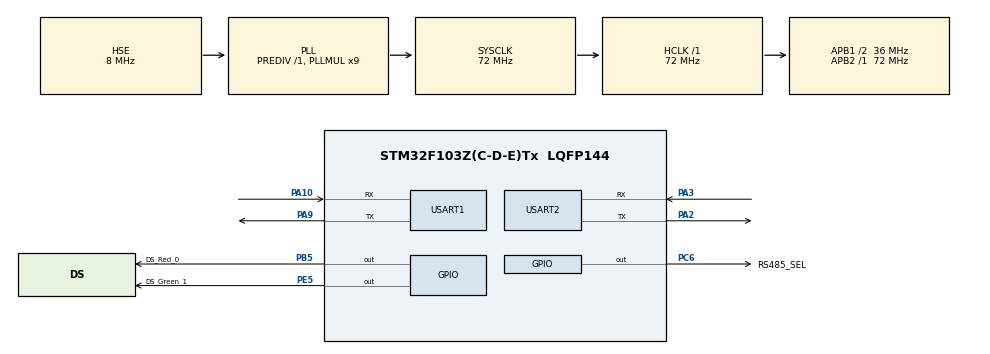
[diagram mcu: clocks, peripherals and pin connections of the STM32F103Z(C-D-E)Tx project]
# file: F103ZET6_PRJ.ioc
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Dma.Request0=USART1_RX
Dma.Request1=USART1_TX
Dma.Request2=USART2_RX
Dma.Request3=USART2_TX
Dma.USART1_RX.0.Direction=DMA_PERIPH_TO_MEMORY
Dma.USART1_RX.0.Instance=DMA1_Channel5
Dma.USART1_RX.0.MemDataAlignment=DMA_MDATAALIGN_BYTE
Dma.USART1_RX.0.MemInc=DMA_MINC_ENABLE
Dma.USART1_RX.0.Mode=DMA_NORMAL
Dma.USART1_RX.0.PeriphDataAlignment=DMA_PDATAALIGN_BYTE
Dma.USART1_RX.0.PeriphInc=DMA_PINC_DISABLE
Dma.USART1_RX.0.Priority=DMA_PRIORITY_LOW
Dma.USART1_TX.1.Direction=DMA_MEMORY_TO_PERIPH
Dma.USART1_TX.1.Instance=DMA1_Channel4
Dma.USART1_TX.1.MemDataAlignment=DMA_MDATAALIGN_BYTE
Dma.USART1_TX.1.MemInc=DMA_MINC_ENABLE
Dma.USART1_TX.1.Mode=DMA_NORMAL
Dma.USART1_TX.1.PeriphDataAlignment=DMA_PDATAALIGN_BYTE
Dma.USART1_TX.1.PeriphInc=DMA_PINC_DISABLE
Dma.USART1_TX.1.Priority=DMA_PRIORITY_LOW
Dma.USART2_RX.2.Direction=DMA_PERIPH_TO_MEMORY
Dma.USART2_RX.2.Instance=DMA1_Channel6
Dma.USART2_RX.2.MemDataAlignment=DMA_MDATAALIGN_BYTE
Dma.USART2_RX.2.MemInc=DMA_MINC_ENABLE
Dma.USART2_RX.2.Mode=DMA_NORMAL
Dma.USART2_RX.2.PeriphDataAlignment=DMA_PDATAALIGN_BYTE
Dma.USART2_RX.2.PeriphInc=DMA_PINC_DISABLE
Dma.USART2_RX.2.Priority=DMA_PRIORITY_LOW
Dma.USART2_TX.3.Direction=DMA_MEMORY_TO_PERIPH
Dma.USART2_TX.3.Instance=DMA1_Channel7
Dma.USART2_TX.3.MemDataAlignment=DMA_MDATAALIGN_BYTE
Dma.USART2_TX.3.MemInc=DMA_MINC_ENABLE
Dma.USART2_TX.3.Mode=DMA_NORMAL
Dma.USART2_TX.3.PeriphDataAlignment=DMA_PDATAALIGN_BYTE
Dma.USART2_TX.3.PeriphInc=DMA_PINC_DISABLE
Dma.USART2_TX.3.Priority=DMA_PRIORITY_LOW
FREERTOS.BinarySemaphores01=myBinarySem01,Static,myBinarySem01ControlBlock
FREERTOS.MEMORY_ALLOCATION=1
FREERTOS.Tasks01=IWDG,2,128,Start_IWDG,Default,NULL,Static,IWDGBuffer,IWDGControlBlock;myTask02,-3,128,StartTask02,Default,NULL,Static,myTask02Buffer,myTask02ControlBlock;myTask03,-3,128,StartTask03,Default,NULL,Static,myTask03Buffer,myTask03ControlBlock
Mcu.Family=STM32F1
Mcu.Name=STM32F103Z(C-D-E)Tx
Mcu.Package=LQFP144
NVIC.DMA1_Channel4_IRQn=true\:5\:0\:false\:false\:true\:true\:false\:true
NVIC.DMA1_Channel5_IRQn=true\:5\:0\:false\:false\:true\:true\:false\:true
NVIC.DMA1_Channel6_IRQn=true\:5\:0\:false\:false\:true\:true\:false\:true
NVIC.DMA1_Channel7_IRQn=true\:5\:0\:false\:false\:true\:true\:false\:true
NVIC.PriorityGroup=NVIC_PRIORITYGROUP_4
NVIC.RCC_IRQn=true\:5\:0\:false\:false\:true\:true\:true\:false
NVIC.RTC_IRQn=true\:5\:0\:false\:false\:true\:true\:true\:true
NVIC.TIM1_UP_IRQn=true\:0\:0\:false\:false\:true\:false\:false\:true
NVIC.TIM2_IRQn=true\:5\:0\:false\:false\:true\:true\:true\:true
NVIC.TIM3_IRQn=true\:5\:0\:false\:false\:true\:true\:true\:true
NVIC.TIM4_IRQn=true\:5\:0\:false\:false\:true\:true\:true\:true
NVIC.TimeBase=TIM1_UP_IRQn
NVIC.TimeBaseIP=TIM1
NVIC.USART1_IRQn=true\:5\:0\:false\:false\:true\:true\:true\:true
NVIC.USART2_IRQn=true\:5\:0\:false\:false\:true\:true\:true\:true
OSC_IN.Mode=HSE-External-Oscillator
OSC_IN.Signal=RCC_OSC_IN
OSC_OUT.Mode=HSE-External-Oscillator
OSC_OUT.Signal=RCC_OSC_OUT
PA10.Mode=Asynchronous
PA10.Signal=USART1_RX
PA13.Mode=JTAG_5_pins
PA13.Signal=SYS_JTMS-SWDIO
PA14.Mode=JTAG_5_pins
PA14.Signal=SYS_JTCK-SWCLK
PA15.Mode=JTAG_5_pins
PA15.Signal=SYS_JTDI
PA2.Mode=Asynchronous
PA2.Signal=USART2_TX
PA3.Mode=Asynchronous
PA3.Signal=USART2_RX
PA9.Mode=Asynchronous
PA9.Signal=USART1_TX
PB3.Mode=JTAG_5_pins
PB3.Signal=SYS_JTDO-TRACESWO
PB4.Mode=JTAG_5_pins
PB4.Signal=SYS_NJTRST
PB5.GPIO_Label=DS_Red_0
PB5.Signal=GPIO_Output
PC14-OSC32_IN.Mode=LSE-External-Oscillator
PC14-OSC32_IN.Signal=RCC_OSC32_IN
PC15-OSC32_OUT.Mode=LSE-External-Oscillator
PC15-OSC32_OUT.Signal=RCC_OSC32_OUT
PC6.GPIO_Label=RS485_SEL
PC6.Signal=GPIO_Output
PE5.GPIO_Label=DS_Green_1
PE5.Signal=GPIO_Output
ProjectManager.HeapSize=0x200
ProjectManager.StackSize=0x400
ProjectManager.TargetToolchain=EWARM V8.32
RCC.AHBFreq_Value=72000000
RCC.APB1CLKDivider=RCC_HCLK_DIV2
RCC.APB1Freq_Value=36000000
RCC.APB1TimFreq_Value=72000000
RCC.APB2Freq_Value=72000000
RCC.APB2TimFreq_Value=72000000
RCC.EnbaleCSS=true
RCC.HCLKFreq_Value=72000000
RCC.PLLMUL=RCC_PLL_MUL9
RCC.PLLSourceVirtual=RCC_PLLSOURCE_HSE
RCC.RTCClockSelection=RCC_RTCCLKSOURCE_LSE
RCC.SYSCLKFreq_VALUE=72000000
RCC.SYSCLKSource=RCC_SYSCLKSOURCE_PLLCLK
RCC.USBFreq_Value=72000000
RTC.Date=20
RTC.Hours=12
RTC.Month=RTC_MONTH_OCTOBER
TIM2.AutoReloadPreload=TIM_AUTORELOAD_PRELOAD_ENABLE
TIM2.Period=50-1
TIM2.Prescaler=72-1
TIM3.AutoReloadPreload=TIM_AUTORELOAD_PRELOAD_ENABLE
TIM3.Period=50-1
TIM3.Prescaler=72-1
TIM4.AutoReloadPreload=TIM_AUTORELOAD_PRELOAD_ENABLE
TIM4.Period=50-1
TIM4.Prescaler=7200-1
USART1.VirtualMode=VM_ASYNC
USART2.VirtualMode=VM_ASYNC
VP_FREERTOS_VS_CMSIS_V1.Mode=CMSIS_V1
VP_RTC_VS_RTC_Activate.Mode=RTC_Enabled
VP_RTC_VS_RTC_Calendar.Mode=RTC_Calendar
VP_SYS_VS_tim1.Mode=TIM1
VP_TIM2_VS_ClockSourceINT.Mode=Internal
VP_TIM3_VS_ClockSourceINT.Mode=Internal
VP_TIM4_VS_ClockSourceINT.Mode=Internal
board=custom

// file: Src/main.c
/* USER CODE BEGIN Header */
/**
  ******************************************************************************
  * @file           : main.c
  * @brief          : Main program body
  ******************************************************************************
  * @attention
  *
  * <h2><center>&copy; Copyright (c) 2019 STMicroelectronics.
  * All rights reserved.</center></h2>
  *
  * This software component is licensed by ST under Ultimate Liberty license
  * SLA0044, the "License"; You may not use this file except in compliance with
  * the License. You may obtain a copy of the License at:
  *                             www.st.com/SLA0044
  *
  ******************************************************************************
  */
/* USER CODE END Header */

#include "main.h"
#include "cmsis_os.h"
#include "dma.h"
#include "rtc.h"
#include "tim.h"
#include "usart.h"
#include "gpio.h"

/* USER CODE BEGIN Includes */
#include "UART_Port.h"
/* USER CODE END Includes */

/* USER CODE BEGIN PV */
/*
使用定时器接收不定长数据
uint8_t     RxBuffer[MAX_REC_LENGTH] = {0};//存储接收数据
uint8_t     RxFlag = 0;                  //接受完成标志
uint16_t    RxCounter = 0;               //接收数据计数器
uint8_t     RxTemp[REC_LENGTH] = {0};    //接收数据缓存

extern osSemaphoreId myBinarySem01Handle;

*/
/* USER CODE END PV */

void SystemClock_Config(void);
void MX_FREERTOS_Init(void);

int main(void)
{

  /* MCU Configuration--------------------------------------------------------*/

  /* Reset of all peripherals, Initializes the Flash interface and the Systick. */
  HAL_Init();

  /* Configure the system clock */
  SystemClock_Config();

  /* Initialize all configured peripherals */
  MX_GPIO_Init();
  MX_DMA_Init();
  MX_RTC_Init();
  MX_USART1_UART_Init();
  MX_USART2_UART_Init();
  MX_TIM2_Init();
  MX_TIM3_Init();
  MX_TIM4_Init();
  /* USER CODE BEGIN 2 */
  Uart_Port_Init();
  /* USER CODE END 2 */

  /* Call init function for freertos objects (in freertos.c) */
  MX_FREERTOS_Init();

  /* Start scheduler */
  osKernelStart();

  /* We should never get here as control is now taken by the scheduler */

  /* Infinite loop */
  while (1)
  {

  }
}

void SystemClock_Config(void)
{
  RCC_OscInitTypeDef RCC_OscInitStruct = {0};
  RCC_ClkInitTypeDef RCC_ClkInitStruct = {0};
  RCC_PeriphCLKInitTypeDef PeriphClkInit = {0};

  /** Initializes the CPU, AHB and APB busses clocks
  */
  RCC_OscInitStruct.OscillatorType = RCC_OSCILLATORTYPE_HSE|RCC_OSCILLATORTYPE_LSE;
  RCC_OscInitStruct.HSEState = RCC_HSE_ON;
  RCC_OscInitStruct.HSEPredivValue = RCC_HSE_PREDIV_DIV1;
  RCC_OscInitStruct.LSEState = RCC_LSE_ON;
  RCC_OscInitStruct.HSIState = RCC_HSI_ON;
  RCC_OscInitStruct.PLL.PLLState = RCC_PLL_ON;
  RCC_OscInitStruct.PLL.PLLSource = RCC_PLLSOURCE_HSE;
  RCC_OscInitStruct.PLL.PLLMUL = RCC_PLL_MUL9;
  if (HAL_RCC_OscConfig(&RCC_OscInitStruct) != HAL_OK)
  {
    Error_Handler();
  }
  /** Initializes the CPU, AHB and APB busses clocks
  */
  RCC_ClkInitStruct.ClockType = RCC_CLOCKTYPE_HCLK|RCC_CLOCKTYPE_SYSCLK
                              |RCC_CLOCKTYPE_PCLK1|RCC_CLOCKTYPE_PCLK2;
  RCC_ClkInitStruct.SYSCLKSource = RCC_SYSCLKSOURCE_PLLCLK;
  RCC_ClkInitStruct.AHBCLKDivider = RCC_SYSCLK_DIV1;
  RCC_ClkInitStruct.APB1CLKDivider = RCC_HCLK_DIV2;
  RCC_ClkInitStruct.APB2CLKDivider = RCC_HCLK_DIV1;

  if (HAL_RCC_ClockConfig(&RCC_ClkInitStruct, FLASH_LATENCY_2) != HAL_OK)
  {
    Error_Handler();
  }
  PeriphClkInit.PeriphClockSelection = RCC_PERIPHCLK_RTC;
  PeriphClkInit.RTCClockSelection = RCC_RTCCLKSOURCE_LSE;
  if (HAL_RCCEx_PeriphCLKConfig(&PeriphClkInit) != HAL_OK)
  {
    Error_Handler();
  }
  /** Enables the Clock Security System
  */
  HAL_RCC_EnableCSS();
}

void HAL_TIM_PeriodElapsedCallback(TIM_HandleTypeDef *htim)
{
  if (htim->Instance == TIM1) {
    HAL_IncTick();
  }
  /* USER CODE BEGIN Callback 1 */
/*
使用定时器实现不定长串口数据接收
  if (htim->Instance == TIM4) {
    RxFlag = 1;                    //标志位置1
    HAL_TIM_Base_Stop_IT(&htim3);//关闭定时器
    osSemaphoreRelease(myBinarySem01Handle);//释放二值信号量 进入任务2
  }

*/
  /* USER CODE END Callback 1 */
}

void Error_Handler(void)
{
}

#ifdef  USE_FULL_ASSERT
/**
  * @brief  Reports the name of the source file and the source line number
  *         where the assert_param error has occurred.
  * @param  file: pointer to the source file name
  * @param  line: assert_param error line source number
  * @retval None
  */
void assert_failed(uint8_t *file, uint32_t line)
{
  /* USER CODE BEGIN 6 */
  /* User can add his own implementation to report the file name and line number,
     tex: printf("Wrong parameters value: file %s on line %d\r\n", file, line) */

  printf("assert failed at %s:%d \n", file, line);
      while (1) {
    }
  /* USER CODE END 6 */
}
#endif /* USE_FULL_ASSERT */

/************************ (C) COPYRIGHT STMicroelectronics *****END OF FILE****/

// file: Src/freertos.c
/* USER CODE BEGIN Header */
/**
  ******************************************************************************
  * File Name          : freertos.c
  * Description        : Code for freertos applications
  ******************************************************************************
  * @attention
  *
  * <h2><center>&copy; Copyright (c) 2019 STMicroelectronics.
  * All rights reserved.</center></h2>
  *
  * This software component is licensed by ST under Ultimate Liberty license
  * SLA0044, the "License"; You may not use this file except in compliance with
  * the License. You may obtain a copy of the License at:
  *                             www.st.com/SLA0044
  *
  ******************************************************************************
  */
/* USER CODE END Header */

#include "FreeRTOS.h"
#include "task.h"
#include "main.h"
#include "cmsis_os.h"

/* USER CODE BEGIN Includes */
#include "usart.h"
#include "stm32f1xx_hal.h"
#include <string.h>
#include <stdio.h>
#include <stdlib.h>
/* USER CODE END Includes */

osThreadId IWDGHandle;
uint32_t IWDGBuffer[ 128 ];
osStaticThreadDef_t IWDGControlBlock;
osThreadId myTask02Handle;
uint32_t myTask02Buffer[ 128 ];
osStaticThreadDef_t myTask02ControlBlock;
osThreadId myTask03Handle;
uint32_t myTask03Buffer[ 128 ];
osStaticThreadDef_t myTask03ControlBlock;
osSemaphoreId myBinarySem01Handle;
osStaticSemaphoreDef_t myBinarySem01ControlBlock;

void Start_IWDG(void const * argument);
void StartTask02(void const * argument);
void StartTask03(void const * argument);

void MX_FREERTOS_Init(void); /* (MISRA C 2004 rule 8.1) */

/* GetIdleTaskMemory prototype (linked to static allocation support) */
void vApplicationGetIdleTaskMemory( StaticTask_t **ppxIdleTaskTCBBuffer, StackType_t **ppxIdleTaskStackBuffer, uint32_t *pulIdleTaskStackSize );

/* USER CODE BEGIN GET_IDLE_TASK_MEMORY */
static StaticTask_t xIdleTaskTCBBuffer;
static StackType_t xIdleStack[configMINIMAL_STACK_SIZE];

void vApplicationGetIdleTaskMemory( StaticTask_t **ppxIdleTaskTCBBuffer, StackType_t **ppxIdleTaskStackBuffer, uint32_t *pulIdleTaskStackSize )
{
  *ppxIdleTaskTCBBuffer = &xIdleTaskTCBBuffer;
  *ppxIdleTaskStackBuffer = &xIdleStack[0];
  *pulIdleTaskStackSize = configMINIMAL_STACK_SIZE;
  /* place for user code */
}
/* USER CODE END GET_IDLE_TASK_MEMORY */

void MX_FREERTOS_Init(void) {

  /* Create the semaphores(s) */
  /* definition and creation of myBinarySem01 */
  osSemaphoreStaticDef(myBinarySem01, &myBinarySem01ControlBlock);
  myBinarySem01Handle = osSemaphoreCreate(osSemaphore(myBinarySem01), 1);

  /* Create the thread(s) */
  /* definition and creation of IWDG */
  osThreadStaticDef(IWDG, Start_IWDG, osPriorityHigh, 0, 128, IWDGBuffer, &IWDGControlBlock);
  IWDGHandle = osThreadCreate(osThread(IWDG), NULL);

  /* definition and creation of myTask02 */
  osThreadStaticDef(myTask02, StartTask02, osPriorityIdle, 0, 128, myTask02Buffer, &myTask02ControlBlock);
  myTask02Handle = osThreadCreate(osThread(myTask02), NULL);

  /* definition and creation of myTask03 */
  osThreadStaticDef(myTask03, StartTask03, osPriorityIdle, 0, 128, myTask03Buffer, &myTask03ControlBlock);
  myTask03Handle = osThreadCreate(osThread(myTask03), NULL);

}

void Start_IWDG(void const * argument)
{
  /* USER CODE BEGIN Start_IWDG */
  char McuId[40]={0};
  uint32_t UID[3]={0};
  UID[0] = HAL_GetUIDw0();   //读取芯片的96位唯一标识ID THE First word
  UID[1] = HAL_GetUIDw1();   //读取芯片的96位唯一标识ID
  UID[2] = HAL_GetUIDw2();   //读取芯片的96位唯一标识ID
  sprintf((char*) McuId, "%08lX", UID[0]);
  sprintf((char*) McuId + 8, "%08lX",  UID[1]);
  sprintf((char*) McuId + 16, "%08lX",  UID[2]);
  HAL_UART_Transmit_DMA(&huart1,(uint8_t *)McuId,strlen(McuId));
  /* Infinite loop */
  for(;;)
  {
    //喂狗
    HAL_GPIO_TogglePin(GPIOB, GPIO_PIN_5);//触发pb5红色
    osDelay(500);
  }
  /* USER CODE END Start_IWDG */
}

void StartTask02(void const * argument)
{
  /* USER CODE BEGIN StartTask02 */
  /* Infinite loop */
  for(;;)
  {
    osDelay(1);
/*  使用定时器接收不定长数据
    osSemaphoreWait(myBinarySem01Handle ,100);
    if( RxFlag == 1) // 如果一帧接收完成
    {
        HAL_UART_Transmit(&huart3 ,RxBuffer ,RxCounter ,0xFFFF);
        RxFlag = 0;
        RxCounter = 0;
    }
*/
  }
  /* USER CODE END StartTask02 */
}

void StartTask03(void const * argument)
{
  for(;;)
  {
    osDelay(1);
  }
}

/* USER CODE BEGIN Application */

/*
//强定义 ， 定时器实现不定长数据接收
void HAL_UART_RxCpltCallback(UART_HandleTypeDef *huart)//用户的回调函数：接收完成处理
{
    if(huart->Instance == USART3) // 串口3接收完成回调
    {
        __HAL_TIM_SET_COUNTER(&htim4 ,0);   //清除定时器计数值
        if(0 == RxCounter)//如果是第一个字符。，则开启定时器
        {
            __HAL_TIM_CLEAR_FLAG(&htim4 ,TIM_FLAG_UPDATE);
            HAL_TIM_Base_Start_IT(&htim4);
        }
        RxBuffer[RxCounter] = RxTemp[0];    //接收缓存的数据，放入接收数组
        RxCounter++;
        HAL_UART_Receive_IT(&huart3, (uint8_t *)RxTemp, REC_LENGTH);//重新使能中断
    }
}
*/

/* USER CODE END Application */

/************************ (C) COPYRIGHT STMicroelectronics *****END OF FILE****/
